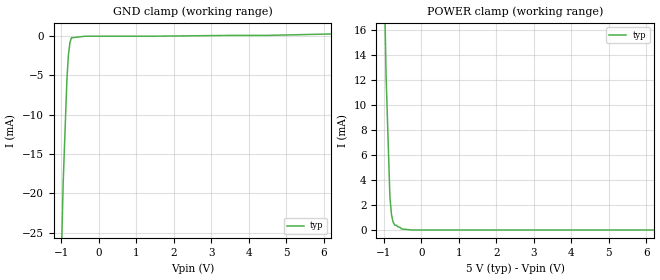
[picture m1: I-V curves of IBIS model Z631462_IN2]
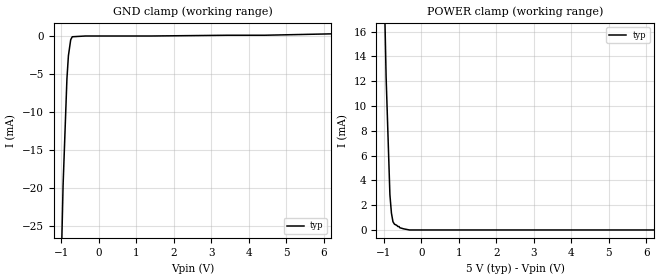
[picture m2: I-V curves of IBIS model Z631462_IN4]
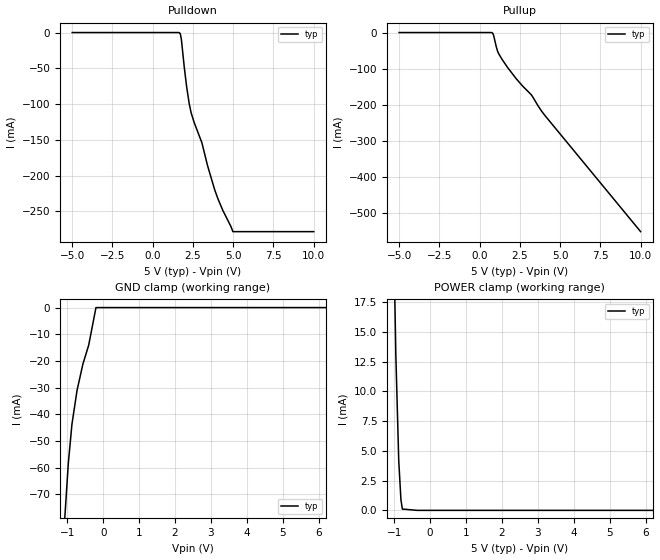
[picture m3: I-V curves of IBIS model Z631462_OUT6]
| YOU ARE ONLY AUTHORIZED TO USE THIS SOFTWARE
| ACCORDING TO LICENSOR'S LICENSE RESTRICTIONS.
[IBIS Ver] 3.1
[File Name] mc10ep58d_50.ibs
[File Rev] 2.0
[Source] Measured and created by ICX Technology
[Date] Wednesday 11/22/00 2:13:51 PM
[Copyright]
| (C) COPYRIGHT 1993-2000
| MENTOR GRAPHICS CORPORATION
| ICX STANDARD LIBRARY, ICX PROJECT MODELING,
| ICX CUSTOM MODELING, ICX VENDOR MODEL
| ALL RIGHTS RESERVED.
| THE FOLLOWING ARE TRADEMARKS OR SERVICE MARKS OF
| MENTOR GRAPHICS CORPORATION:ICX (R), ICX STANDARD
| LIBRARY(R), ICX PROJECT MODELING(R), ICX CUSTOM
| MODELING(R), qualityIBIS(TM), MODELVIEWER(TM),
| AND MODELEDITOR(TM)
| ALL COPIES OF SOFTWARE, INCLUDING BUT NOT LIMITED TO
| ANY MODIFICATIONS, ENHANCEMENTS OR DERIVATIVE WORKS,
| MUST CONTAIN ALL MENTOR GRAPHICS CORPORATION'S
| NOTICES AND LEGENDS, INCLUDING THOSE EMBEDDED IN
| SOFTWARE AND THOSE AFFIXED TO SOFTWARE MEDIUM
| AND CONTAINER, AS RECEIVED FROM MENTOR GRAPHICS
| CORPORATION.
|  ZAP Model Builder 2.8
[Component] MC10EP58D_50
[Manufacturer] OnSemiconductor
[Package]
| variable   typ   min   max
R_pkg  .152ohms NA NA
L_pkg  2.714nH NA NA
C_pkg  .364pF NA NA
[Pin] signal_name  model_name  R_pin  L_pin C_pin
1 NC NC .154 2.924n .374p
2 DA Z631462_IN2 .15 2.504n .354p
3 DB Z631462_IN2 .15 2.504n .354p
4 SEL Z631462_IN4 .154 2.924n .374p
5 VEE GND .154 2.924n .374p
6 _Q Z631462_OUT6 .15 2.504n .354p
7 Q Z631462_OUT6 .15 2.504n .354p
8 VCC POWER .154 2.924n .374p
[Diff Pin] inv_pin vdiff tdelay_typ tdelay_min tdelay_max
7 6 NA .005ns NA .02ns
| Models and submodels in the file (3): Z631462_IN2 (Input_ECL), Z631462_IN4 (Input_ECL), Z631462_OUT6 (Output_ECL)
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| (C) COPYRIGHT 1993-2000
| MENTOR GRAPHICS CORPORATION
| ICX STANDARD LIBRARY, ICX PROJECT MODELING,
| ICX CUSTOM MODELING, ICX VENDOR MODEL
| ALL RIGHTS RESERVED.
| THE FOLLOWING ARE TRADEMARKS OR SERVICE MARKS OF
| MENTOR GRAPHICS CORPORATION:ICX (R), ICX STANDARD
| LIBRARY(R), ICX PROJECT MODELING(R), ICX CUSTOM
| MODELING(R), qualityIBIS(TM), MODELVIEWER(TM),
| AND MODELEDITOR(TM)
| ALL COPIES OF SOFTWARE, INCLUDING BUT NOT LIMITED TO
| ANY MODIFICATIONS, ENHANCEMENTS OR DERIVATIVE WORKS,
| MUST CONTAIN ALL MENTOR GRAPHICS CORPORATION'S
| NOTICES AND LEGENDS, INCLUDING THOSE EMBEDDED IN
| SOFTWARE AND THOSE AFFIXED TO SOFTWARE MEDIUM
| AND CONTAINER, AS RECEIVED FROM MENTOR GRAPHICS
| CORPORATION.
| Model Application Version 1.89 2/18/99.
[Model] Z631462_IN2
Model_type Input_ECL
Vinl = 3.455V
Vinh = 3.855V
C_comp 3.000pF NA NA
| variable typ   min   max
[Voltage Range] 5.000V NA NA
[GND Clamp Reference] 0.000V NA NA
[POWER Clamp Reference] 5.000V NA NA
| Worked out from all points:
|   GND clamp passes 1 mA (typ) near -0.78 V on its own axis
|   POWER clamp passes 1 mA (typ) near -0.78 V on its own axis
[GND Clamp]
-5V       -1.05A     NA         NA
-1.074V   -44mA      NA         NA
-953mV    -19mA      NA         NA
-851mV    -5.5mA     NA         NA
-811mV    -2.4mA     NA         NA
-770mV    -800uA     NA         NA
-729mV    -200uA     NA         NA
-364.5mV  0A         NA         NA
1.399V    0A         NA         NA
3.466V    100uA      NA         NA
4.429V    100uA      NA         NA
10V       678.5uA    NA         NA
[POWER Clamp]
-5V       782.6mA    NA         NA
-1.081V   34.53mA    NA         NA
-939mV    12.24mA    NA         NA
-838mV    2.654mA    NA         NA
-797mV    1.258mA    NA         NA
-756mV    662.2uA    NA         NA
-705.5mV  372.7uA    NA         NA
-655mV    372.7uA    NA         NA
-554mV    183.2uA    NA         NA
-534mV    85.25uA    NA         NA
-267mV    0A         NA         NA
10V       0A         NA         NA
| (C) COPYRIGHT 1993-2000
| MENTOR GRAPHICS CORPORATION
| ICX STANDARD LIBRARY, ICX PROJECT MODELING,
| ICX CUSTOM MODELING, ICX VENDOR MODEL
| ALL RIGHTS RESERVED.
| THE FOLLOWING ARE TRADEMARKS OR SERVICE MARKS OF
| MENTOR GRAPHICS CORPORATION:ICX (R), ICX STANDARD
| LIBRARY(R), ICX PROJECT MODELING(R), ICX CUSTOM
| MODELING(R), qualityIBIS(TM), MODELVIEWER(TM),
| AND MODELEDITOR(TM)
| ALL COPIES OF SOFTWARE, INCLUDING BUT NOT LIMITED TO
| ANY MODIFICATIONS, ENHANCEMENTS OR DERIVATIVE WORKS,
| MUST CONTAIN ALL MENTOR GRAPHICS CORPORATION'S
| NOTICES AND LEGENDS, INCLUDING THOSE EMBEDDED IN
| SOFTWARE AND THOSE AFFIXED TO SOFTWARE MEDIUM
| AND CONTAINER, AS RECEIVED FROM MENTOR GRAPHICS
| CORPORATION.
| Model Application Version 1.89 2/18/99.
[Model] Z631462_IN4
Model_type Input_ECL
Vinl = 3.455V
Vinh = 3.855V
C_comp 3.000pF NA NA
| variable typ   min   max
[Voltage Range] 5.000V NA NA
[GND Clamp Reference] 0.000V NA NA
[POWER Clamp Reference] 5.000V NA NA
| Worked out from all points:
|   GND clamp passes 1 mA (typ) near -0.76 V on its own axis
|   POWER clamp passes 1 mA (typ) near -0.78 V on its own axis
[GND Clamp]
-5V       -1.106A    NA         NA
-1.074V   -45.6mA    NA         NA
-953mV    -19.7mA    NA         NA
-851mV    -5.7mA     NA         NA
-811mV    -2.6mA     NA         NA
-750mV    -500uA     NA         NA
-709mV    -100uA     NA         NA
-354.5mV  0A         NA         NA
1.389V    0A         NA         NA
3.446V    100uA      NA         NA
4.419V    100uA      NA         NA
10V       673.6uA    NA         NA
[POWER Clamp]
-5V       739.9mA    NA         NA
-1.041V   27.23mA    NA         NA
-939mV    12.34mA    NA         NA
-838mV    2.854mA    NA         NA
-797mV    1.358mA    NA         NA
-756mV    662.6uA    NA         NA
-716mV    466.7uA    NA         NA
-594mV    279.2uA    NA         NA
-574mV    181.3uA    NA         NA
-315.3mV  0A         NA         NA
10V       0A         NA         NA
| (C) COPYRIGHT 1993-2000
| MENTOR GRAPHICS CORPORATION
| ICX STANDARD LIBRARY, ICX PROJECT MODELING,
| ICX CUSTOM MODELING, ICX VENDOR MODEL
| ALL RIGHTS RESERVED.
| THE FOLLOWING ARE TRADEMARKS OR SERVICE MARKS OF
| MENTOR GRAPHICS CORPORATION:ICX (R), ICX STANDARD
| LIBRARY(R), ICX PROJECT MODELING(R), ICX CUSTOM
| MODELING(R), qualityIBIS(TM), MODELVIEWER(TM),
| AND MODELEDITOR(TM)
| ALL COPIES OF SOFTWARE, INCLUDING BUT NOT LIMITED TO
| ANY MODIFICATIONS, ENHANCEMENTS OR DERIVATIVE WORKS,
| MUST CONTAIN ALL MENTOR GRAPHICS CORPORATION'S
| NOTICES AND LEGENDS, INCLUDING THOSE EMBEDDED IN
| SOFTWARE AND THOSE AFFIXED TO SOFTWARE MEDIUM
| AND CONTAINER, AS RECEIVED FROM MENTOR GRAPHICS
| CORPORATION.
| Model Application Version 1.89 2/18/99.
[Model] Z631462_OUT6
Model_type Output_ECL
Vref=3.000V
Rref=50.00ohms
Cref=0.000F
Vmeas=3.655V
C_comp 8.000pF NA NA
| variable typ   min   max
[Voltage Range] 5.000V NA NA
[POWER Clamp Reference] 5.000V NA NA
[Pullup Reference] 5.000V NA NA
[Pulldown Reference] 5.000V NA NA
[GND Clamp Reference] 0.000V NA NA
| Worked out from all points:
|   GND clamp passes 1 mA (typ) near -0.22 V on its own axis
|   POWER clamp passes 1 mA (typ) near -0.81 V on its own axis
[GND Clamp]
-5V       -1.12A     NA         NA
-1.095V   -83.9mA    NA         NA
-973mV    -58.5mA    NA         NA
-872mV    -43.8mA    NA         NA
-730mV    -31.1mA    NA         NA
-567mV    -21.2mA    NA         NA
-405mV    -14.1mA    NA         NA
-202.5mV  0A         NA         NA
10V       0A         NA         NA
[Pulldown]
-5V       0A         NA         NA
1.676V    -600uA     NA         NA
1.777V    -9.2mA     NA         NA
2.101V    -75mA      NA         NA
2.264V    -99.3mA    NA         NA
2.385V    -112.2mA   NA         NA
3.054V    -154.1mA   NA         NA
3.399V    -185.6mA   NA         NA
3.845V    -219.6mA   NA         NA
4.351V    -248.5mA   NA         NA
4.979V    -278.3mA   NA         NA
10V       -278.3mA   NA         NA
[Pullup]
-5V       0A         NA         NA
809mV     -1.7mA     NA         NA
870mV     -7.7mA     NA         NA
1.032V    -39.1mA    NA         NA
1.113V    -51.5mA    NA         NA
1.397V    -74.7mA    NA         NA
1.741V    -97.2mA    NA         NA
2.268V    -127.9mA   NA         NA
3.201V    -172.3mA   NA         NA
3.627V    -203.3mA   NA         NA
4.052V    -230.1mA   NA         NA
10V       -552.8mA   NA         NA
[POWER Clamp]
-5V       700.6mA    NA         NA
-955mV    13.1mA     NA         NA
-874mV    4.2mA      NA         NA
-813mV    900uA      NA         NA
-772mV    100uA      NA         NA
-731mV    100uA      NA         NA
-365.5mV  0A         NA         NA
10V       0A         NA         NA
[Ramp]
| variable typ min max
dV/dt_r 236.4m/88.68p NA NA
dV/dt_f 236.4m/83.44p NA NA
R_load = 50.00Ohms
